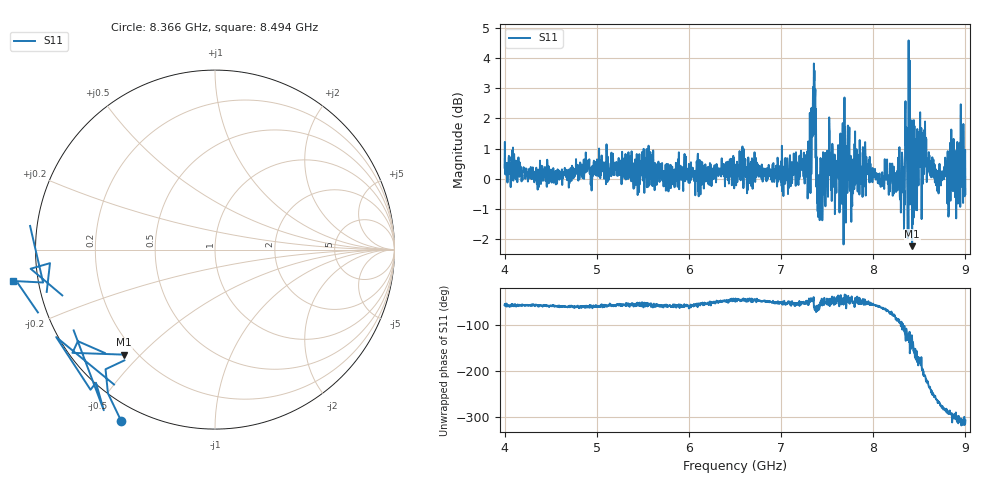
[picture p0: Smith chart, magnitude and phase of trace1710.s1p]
! Created with skrf 1.8.0 (http://scikit-rf.org).
# Hz S RI R 50.0
!freq ReS11 ImS11
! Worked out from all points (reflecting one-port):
!   1601 points, 4 GHz to 9 GHz, reference 50 ohm
!   lowest |S11| = -2.2 dB at 8.422 GHz (marker M1), VSWR 7.83, Z = 7.69 - j22.4 ohm
!   phase of S11 starts at -57 deg and turns -250 deg over the sweep
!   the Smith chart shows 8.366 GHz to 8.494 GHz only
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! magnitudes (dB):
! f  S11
! 4 GHz  0.4
! 4.625 GHz  -0.2
! 5.25 GHz  0.2
! 5.875 GHz  -0.1
! 6.5 GHz  0.4
! 7.125 GHz  0.3
! 7.294 GHz  1.2
! 7.356 GHz  3.8
! 7.409 GHz  -0.2
! 7.469 GHz  0.5
! 7.512 GHz  0.7
! 7.609 GHz  0.3
! 7.669 GHz  1.8
! 7.75 GHz  -0.4
! 7.769 GHz  -0.7
! 7.8 GHz  -0.2
! 7.928 GHz  0.2
! 8.316 GHz  0.7
! 8.334 GHz  -1.7
! 8.356 GHz  1.4
! 8.375 GHz  -2.0
! 8.422 GHz  -2.2
! 8.447 GHz  1.7
! 8.497 GHz  1.3
! 8.691 GHz  0.2
! 8.841 GHz  0.8
! 8.953 GHz  -0.3
! 9 GHz  -0.5
